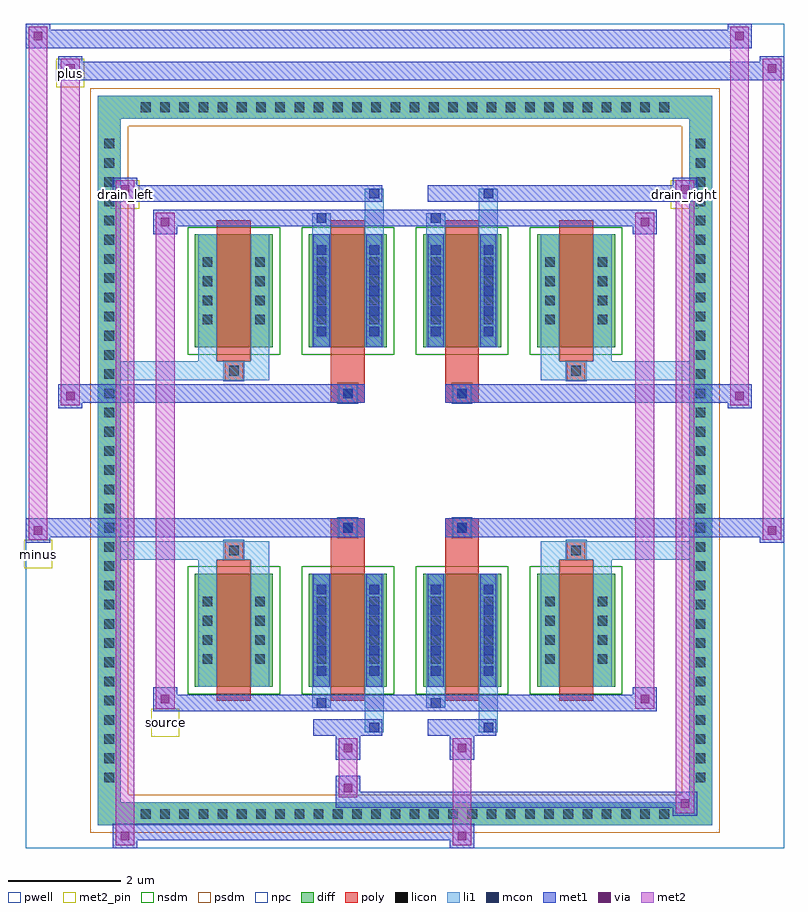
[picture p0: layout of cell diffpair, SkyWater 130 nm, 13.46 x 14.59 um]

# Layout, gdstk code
import gdstk
lib = gdstk.Library(unit=1e-6, precision=5e-09)
def R(c, l, rs):  # rectangles x0, y0, x1, y1
    for r in rs: c.add(gdstk.rectangle(r[:2], r[2:], *l))
def A(c, l, x, y, w, h, nx, ny, dx, dy):  # array of equal rectangles
    R(c, l, [(x+i*dx, y+j*dy, x+i*dx+w, y+j*dy+h) for i in range(nx) for j in range(ny)])
def P(c, l, *ps):  # polygons
    for p in ps: c.add(gdstk.Polygon(p, *l))
pwell = (64, 44)
diff = (65, 20)
poly = (66, 20)
licon = (66, 44)
li1 = (67, 20)
mcon = (67, 44)
met1 = (68, 20)
via = (68, 44)
met2_pin = (69, 16)
met2 = (69, 20)
nsdm = (93, 44)
psdm = (94, 20)
npc = (95, 20)

diffpair = lib.new_cell('diffpair')
R(diffpair, pwell, [(-6.71,-6.86,6.71,7.73), (-4.03,-5.05,-0.01,-0.825), (0.01,-5.05,4.03,-0.825), (-4.03,0.825,-0.01,5.05), (0.01,0.825,4.03,5.05)])
A(diffpair, diff, -4.795, -6.46, 0.41, 0.41, 28, 2, 0.34, 12.51)
A(diffpair, diff, -5.44, -5.815, 0.41, 0.41, 1, 34, 0, 0.34)
A(diffpair, diff, 5.03, -5.815, 0.41, 0.41, 1, 34, 0, 0.34)
A(diffpair, diff, -3.72, -4.005, 1.38, 2, 4, 2, 2.02, 6.01)
R(diffpair, diff, [(-4.795,-6.46,4.795,-6.05), (-5.44,-5.815,-5.03,5.815), (5.03,-5.815,5.44,5.815), (-4.795,6.05,4.795,6.46)])
P(diffpair, diff, [(5.44,6.46),(-5.44,6.46),(-5.44,-6.05),(-5.03,-6.05),(-5.03,6.05),(5.03,6.05),(5.03,-6.05),(-5.03,-6.05),(-5.44,-6.05),(-5.44,-6.46),(5.44,-6.46)])
A(diffpair, poly, -3.33, -4.255, 0.6, 2.5, 4, 2, 2.02, 6.01)
R(diffpair, poly, [(-3.195,-1.755,-2.865,-1.425), (-3.195,-1.755,-2.865,-1.425), (-1.31,-1.755,-0.71,-1.355), (0.71,-1.755,1.31,-1.355), (2.865,-1.755,3.195,-1.425), (2.865,-1.755,3.195,-1.425), (-1.31,-1.355,-0.71,-1.025), (-1.175,-1.355,-0.845,-1.025), (0.71,-1.355,1.31,-1.025), (0.845,-1.355,1.175,-1.025), (-1.31,1.025,-0.71,1.355), (-1.175,1.025,-0.845,1.355), (0.71,1.025,1.31,1.355), (0.845,1.025,1.175,1.355), (-1.31,1.355,-0.71,1.755), (0.71,1.355,1.31,1.755), (-3.195,1.425,-2.865,1.755), (-3.195,1.425,-2.865,1.755), (2.865,1.425,3.195,1.755), (2.865,1.425,3.195,1.755)])
A(diffpair, licon, -4.675, -6.34, 0.17, 0.17, 28, 2, 0.34, 12.51)
A(diffpair, licon, -5.32, -5.695, 0.17, 0.17, 1, 34, 0, 0.34)
A(diffpair, licon, 5.15, -5.695, 0.17, 0.17, 1, 34, 0, 0.34)
A(diffpair, licon, -3.58, -3.6, 0.17, 0.17, 1, 4, 0, 0.34)
A(diffpair, licon, -2.65, -3.6, 0.17, 0.17, 1, 4, 0, 0.34)
A(diffpair, licon, -1.56, -3.6, 0.17, 0.17, 1, 4, 0, 0.34)
A(diffpair, licon, -0.63, -3.6, 0.17, 0.17, 1, 4, 0, 0.34)
A(diffpair, licon, 0.46, -3.6, 0.17, 0.17, 1, 4, 0, 0.34)
A(diffpair, licon, 1.39, -3.6, 0.17, 0.17, 1, 4, 0, 0.34)
A(diffpair, licon, 2.48, -3.6, 0.17, 0.17, 1, 4, 0, 0.34)
A(diffpair, licon, 3.41, -3.6, 0.17, 0.17, 1, 4, 0, 0.34)
A(diffpair, licon, -3.58, 2.41, 0.17, 0.17, 1, 4, 0, 0.34)
A(diffpair, licon, -2.65, 2.41, 0.17, 0.17, 1, 4, 0, 0.34)
A(diffpair, licon, -1.56, 2.41, 0.17, 0.17, 1, 4, 0, 0.34)
A(diffpair, licon, -0.63, 2.41, 0.17, 0.17, 1, 4, 0, 0.34)
A(diffpair, licon, 0.46, 2.41, 0.17, 0.17, 1, 4, 0, 0.34)
A(diffpair, licon, 1.39, 2.41, 0.17, 0.17, 1, 4, 0, 0.34)
A(diffpair, licon, 2.48, 2.41, 0.17, 0.17, 1, 4, 0, 0.34)
A(diffpair, licon, 3.41, 2.41, 0.17, 0.17, 1, 4, 0, 0.34)
R(diffpair, licon, [(-3.115,-1.675,-2.945,-1.505), (2.945,-1.675,3.115,-1.505), (-1.095,-1.275,-0.925,-1.105), (0.925,-1.275,1.095,-1.105), (-1.095,1.105,-0.925,1.275), (0.925,1.105,1.095,1.275), (-3.115,1.505,-2.945,1.675), (2.945,1.505,3.115,1.675)])
A(diffpair, li1, -4.755, -6.42, 0.33, 0.33, 28, 2, 0.34, 12.51)
A(diffpair, li1, -5.4, -5.775, 0.33, 0.33, 1, 34, 0, 0.34)
A(diffpair, li1, 5.07, -5.775, 0.33, 0.33, 1, 34, 0, 0.34)
A(diffpair, li1, -1.56, -3.81, 0.17, 0.17, 1, 5, 0, 0.36)
A(diffpair, li1, -0.63, -3.81, 0.17, 0.17, 1, 5, 0, 0.36)
A(diffpair, li1, 0.46, -3.81, 0.17, 0.17, 1, 5, 0, 0.36)
A(diffpair, li1, 1.39, -3.81, 0.17, 0.17, 1, 5, 0, 0.36)
A(diffpair, li1, -3.66, -3.68, 0.33, 0.33, 1, 4, 0, 0.34)
A(diffpair, li1, -2.73, -3.68, 0.33, 0.33, 1, 4, 0, 0.34)
A(diffpair, li1, -1.64, -3.68, 0.33, 0.33, 1, 4, 0, 0.34)
A(diffpair, li1, -0.71, -3.68, 0.33, 0.33, 1, 4, 0, 0.34)
A(diffpair, li1, 0.38, -3.68, 0.33, 0.33, 1, 4, 0, 0.34)
A(diffpair, li1, 1.31, -3.68, 0.33, 0.33, 1, 4, 0, 0.34)
A(diffpair, li1, 2.4, -3.68, 0.33, 0.33, 1, 4, 0, 0.34)
A(diffpair, li1, 3.33, -3.68, 0.33, 0.33, 1, 4, 0, 0.34)
A(diffpair, li1, -1.56, 2.2, 0.17, 0.17, 1, 5, 0, 0.36)
A(diffpair, li1, -0.63, 2.2, 0.17, 0.17, 1, 5, 0, 0.36)
A(diffpair, li1, 0.46, 2.2, 0.17, 0.17, 1, 5, 0, 0.36)
A(diffpair, li1, 1.39, 2.2, 0.17, 0.17, 1, 5, 0, 0.36)
A(diffpair, li1, -3.66, 2.33, 0.33, 0.33, 1, 4, 0, 0.34)
A(diffpair, li1, -2.73, 2.33, 0.33, 0.33, 1, 4, 0, 0.34)
A(diffpair, li1, -1.64, 2.33, 0.33, 0.33, 1, 4, 0, 0.34)
A(diffpair, li1, -0.71, 2.33, 0.33, 0.33, 1, 4, 0, 0.34)
A(diffpair, li1, 0.38, 2.33, 0.33, 0.33, 1, 4, 0, 0.34)
A(diffpair, li1, 1.31, 2.33, 0.33, 0.33, 1, 4, 0, 0.34)
A(diffpair, li1, 2.4, 2.33, 0.33, 0.33, 1, 4, 0, 0.34)
A(diffpair, li1, 3.33, 2.33, 0.33, 0.33, 1, 4, 0, 0.34)
R(diffpair, li1, [(-5.44,-6.46,-5.03,-6.05), (-5.44,-6.46,-5.03,-6.05), (-5.03,-6.46,5.03,-6.05), (5.03,-6.46,5.44,-6.05), (5.03,-6.46,5.44,-6.05), (-5.44,-6.05,-5.03,6.05), (5.03,-6.05,5.44,6.05), (-0.71,-4.81,-0.38,-4.005), (-0.63,-4.81,-0.46,-4.64), (1.31,-4.81,1.64,-4.005), (1.39,-4.81,1.56,-4.64), (-1.64,-4.38,-1.31,-4.005), (-1.56,-4.38,-1.39,-4.21), (0.38,-4.38,0.71,-4.005), (0.46,-4.38,0.63,-4.21), (-3.66,-4.005,-3.33,-2.005), (-2.73,-4.005,-2.4,-2.005), (-1.64,-4.005,-1.31,-2.005), (-0.71,-4.005,-0.38,-2.005), (0.38,-4.005,0.71,-2.005), (1.31,-4.005,1.64,-2.005), (2.4,-4.005,2.73,-2.005), (3.33,-4.005,3.66,-2.005), (-1.56,-3.81,-1.39,-2.2), (-0.63,-3.81,-0.46,-2.2), (0.46,-3.81,0.63,-2.2), (1.39,-3.81,1.56,-2.2), (-3.66,-2.005,-3.33,-1.425), (-2.73,-2.005,-2.4,-1.425), (2.4,-2.005,2.73,-1.425), (3.33,-2.005,3.66,-1.425), (-5.44,-1.755,-3.195,-1.425), (-3.66,-1.755,-3.195,-1.425), (-3.195,-1.755,-2.865,-1.425), (-2.865,-1.755,-2.4,-1.425), (2.4,-1.755,2.865,-1.425), (2.865,-1.755,3.195,-1.425), (2.865,-1.755,5.44,-1.425), (3.195,-1.755,3.66,-1.425), (-1.175,-1.355,-0.845,-1.025), (0.845,-1.355,1.175,-1.025), (-1.175,1.025,-0.845,1.355), (0.845,1.025,1.175,1.355), (-5.44,1.425,-3.195,1.755), (-3.66,1.425,-3.195,1.755), (-3.66,1.425,-3.33,2.005), (-3.195,1.425,-2.865,1.755), (-2.865,1.425,-2.4,1.755), (-2.73,1.425,-2.4,2.005), (2.4,1.425,2.865,1.755), (2.4,1.425,2.73,2.005), (2.865,1.425,3.195,1.755), (2.865,1.425,5.44,1.755), (3.195,1.425,3.66,1.755), (3.33,1.425,3.66,2.005), (-3.66,2.005,-3.33,4.005), (-2.73,2.005,-2.4,4.005), (-1.64,2.005,-1.31,4.005), (-0.71,2.005,-0.38,4.005), (0.38,2.005,0.71,4.005), (1.31,2.005,1.64,4.005), (2.4,2.005,2.73,4.005), (3.33,2.005,3.66,4.005), (-1.56,2.2,-1.39,3.81), (-0.63,2.2,-0.46,3.81), (0.46,2.2,0.63,3.81), (1.39,2.2,1.56,3.81), (-1.64,4.005,-1.31,4.38), (-0.71,4.005,-0.38,4.81), (0.38,4.005,0.71,4.38), (1.31,4.005,1.64,4.81), (-1.56,4.21,-1.39,4.38), (0.46,4.21,0.63,4.38), (-0.63,4.64,-0.46,4.81), (1.39,4.64,1.56,4.81), (-5.44,6.05,-5.03,6.46), (-5.44,6.05,-5.03,6.46), (-5.03,6.05,5.03,6.46), (5.03,6.05,5.44,6.46), (5.03,6.05,5.44,6.46)])
A(diffpair, mcon, -1.56, -3.81, 0.17, 0.17, 1, 5, 0, 0.36)
A(diffpair, mcon, -0.63, -3.81, 0.17, 0.17, 1, 5, 0, 0.36)
A(diffpair, mcon, 0.46, -3.81, 0.17, 0.17, 1, 5, 0, 0.36)
A(diffpair, mcon, 1.39, -3.81, 0.17, 0.17, 1, 5, 0, 0.36)
A(diffpair, mcon, -1.56, 2.2, 0.17, 0.17, 1, 5, 0, 0.36)
A(diffpair, mcon, -0.63, 2.2, 0.17, 0.17, 1, 5, 0, 0.36)
A(diffpair, mcon, 0.46, 2.2, 0.17, 0.17, 1, 5, 0, 0.36)
A(diffpair, mcon, 1.39, 2.2, 0.17, 0.17, 1, 5, 0, 0.36)
R(diffpair, mcon, [(-0.63,-4.81,-0.46,-4.64), (1.39,-4.81,1.56,-4.64), (-1.56,-4.38,-1.39,-4.21), (0.46,-4.38,0.63,-4.21), (-1.095,-1.275,-0.925,-1.105), (0.925,-1.275,1.095,-1.105), (-1.095,1.105,-0.925,1.275), (0.925,1.105,1.095,1.275), (-1.56,4.21,-1.39,4.38), (0.46,4.21,0.63,4.38), (-0.63,4.64,-0.46,4.81), (1.39,4.64,1.56,4.81)])
A(diffpair, met1, -1.62, -3.87, 0.29, 0.29, 1, 5, 0, 0.36)
A(diffpair, met1, -0.69, -3.87, 0.29, 0.29, 1, 5, 0, 0.36)
A(diffpair, met1, 0.4, -3.87, 0.29, 0.29, 1, 5, 0, 0.36)
A(diffpair, met1, 1.33, -3.87, 0.29, 0.29, 1, 5, 0, 0.36)
A(diffpair, met1, -1.62, 2.14, 0.29, 0.29, 1, 5, 0, 0.36)
A(diffpair, met1, -0.69, 2.14, 0.29, 0.29, 1, 5, 0, 0.36)
A(diffpair, met1, 0.4, 2.14, 0.29, 0.29, 1, 5, 0, 0.36)
A(diffpair, met1, 1.33, 2.14, 0.29, 0.29, 1, 5, 0, 0.36)
R(diffpair, met1, [(-5.17,-6.86,-4.74,-6.43), (0.795,-6.86,1.225,-6.43), (-5.17,-6.72,1.225,-6.43), (4.74,-6.29,5.17,-5.86), (-1.225,-6.15,5.17,-5.86), (-1.225,-6.01,-0.795,-5.58), (-1.225,-5.3,-0.795,-4.87), (0.795,-5.3,1.225,-4.87), (-1.62,-4.87,-0.4,-4.58), (-0.69,-4.87,-0.4,-4.58), (0.4,-4.87,1.62,-4.58), (1.33,-4.87,1.62,-4.58), (-4.46,-4.44,-4.03,-4.01), (-4.46,-4.44,-1.62,-4.15), (-1.62,-4.44,-1.33,-4.15), (-1.62,-4.44,-0.4,-4.15), (-0.4,-4.44,0.4,-4.15), (0.4,-4.44,0.69,-4.15), (0.4,-4.44,1.62,-4.15), (1.62,-4.44,4.46,-4.15), (4.03,-4.44,4.46,-4.01), (-1.62,-4.005,-1.33,-2.005), (-0.69,-4.005,-0.4,-2.005), (0.4,-4.005,0.69,-2.005), (1.33,-4.005,1.62,-2.005), (-6.71,-1.455,-6.28,-1.025), (6.28,-1.455,6.71,-1.025), (-6.71,-1.355,-0.71,-1.025), (-1.31,-1.355,-0.71,-1.025), (0.71,-1.355,1.31,-1.025), (0.71,-1.355,6.71,-1.025), (-1.155,-1.335,-0.865,-1.045), (0.865,-1.335,1.155,-1.045), (-6.14,0.925,-5.71,1.355), (5.71,0.925,6.14,1.355), (-6.14,1.025,-1.31,1.355), (-1.31,1.025,-0.71,1.355), (0.71,1.025,1.31,1.355), (1.31,1.025,6.14,1.355), (-1.155,1.045,-0.865,1.335), (0.865,1.045,1.155,1.335), (-1.62,2.005,-1.33,4.005), (-0.69,2.005,-0.4,4.005), (0.4,2.005,0.69,4.005), (1.33,2.005,1.62,4.005), (-4.46,4.01,-4.03,4.44), (4.03,4.01,4.46,4.44), (-4.46,4.15,-1.62,4.44), (-1.62,4.15,-1.33,4.44), (-1.62,4.15,-0.4,4.44), (-0.4,4.15,0.4,4.44), (0.4,4.15,0.69,4.44), (0.4,4.15,1.62,4.44), (1.62,4.15,4.46,4.44), (-5.17,4.58,-4.74,5.01), (-5.17,4.58,-1.62,4.87), (-1.62,4.58,-0.4,4.87), (-0.69,4.58,-0.4,4.87), (0.4,4.58,1.62,4.87), (1.33,4.58,1.62,4.87), (1.62,4.58,5.17,4.87), (4.74,4.58,5.17,5.01), (-6.14,6.73,-5.71,7.16), (-6.14,6.73,-4.03,7.06), (-4.03,6.73,4.03,7.06), (4.03,6.73,6.71,7.06), (6.28,6.73,6.71,7.16), (-6.71,7.3,-6.28,7.73), (-6.71,7.3,-4.03,7.63), (-4.03,7.3,4.03,7.63), (4.03,7.3,6.14,7.63), (5.71,7.3,6.14,7.73)])
R(diffpair, via, [(-5.03,-6.72,-4.88,-6.57), (0.935,-6.72,1.085,-6.57), (4.88,-6.15,5.03,-6), (-1.085,-5.87,-0.935,-5.72), (-1.085,-5.16,-0.935,-5.01), (0.935,-5.16,1.085,-5.01), (-4.32,-4.3,-4.17,-4.15), (4.17,-4.3,4.32,-4.15), (-6.57,-1.315,-6.42,-1.165), (6.42,-1.315,6.57,-1.165), (-6,1.065,-5.85,1.215), (5.85,1.065,6,1.215), (-4.32,4.15,-4.17,4.3), (4.17,4.15,4.32,4.3), (-5.03,4.72,-4.88,4.87), (4.88,4.72,5.03,4.87), (-6,6.87,-5.85,7.02), (6.42,6.87,6.57,7.02), (-6.57,7.44,-6.42,7.59), (5.85,7.44,6,7.59)])
R(diffpair, met2_pin, [(-4.495,-4.89,-3.995,-4.39), (-6.745,-1.905,-6.245,-1.405), (-5.205,4.46,-4.705,4.96), (4.705,4.46,5.205,4.96), (-6.175,6.61,-5.675,7.11)])
R(diffpair, met2, [(-5.12,-6.81,-4.79,-6.48), (-5.12,-6.81,-4.79,4.96), (0.845,-6.81,1.175,-6.48), (0.845,-6.48,1.175,-5.25), (4.79,-6.24,5.12,-5.91), (4.79,-6.24,5.12,4.96), (-1.175,-5.96,-0.845,-5.63), (-1.175,-5.63,-0.845,-5.25), (-1.175,-5.25,-0.845,-4.92), (0.845,-5.25,1.175,-4.92), (-4.41,-4.39,-4.08,-4.06), (-4.41,-4.39,-4.08,4.39), (4.08,-4.39,4.41,-4.06), (4.08,-4.39,4.41,4.39), (-6.66,-1.405,-6.33,-1.075), (-6.66,-1.405,-6.33,7.68), (6.33,-1.405,6.66,-1.075), (6.33,-1.405,6.66,7.11), (-6.09,0.975,-5.76,1.305), (-6.09,0.975,-5.76,7.11), (5.76,0.975,6.09,1.305), (5.76,0.975,6.09,7.68), (-4.41,4.06,-4.08,4.39), (4.08,4.06,4.41,4.39), (-5.12,4.63,-4.79,4.96), (4.79,4.63,5.12,4.96), (-6.09,6.78,-5.76,7.11), (6.33,6.78,6.66,7.11), (-6.66,7.35,-6.33,7.68), (5.76,7.35,6.09,7.68)])
P(diffpair, met2, [(6.66,-1.405),(6.66,-1.405),(6.66,-1.075),(6.66,-1.075)],
  [(6.66,6.78),(6.66,6.78),(6.66,7.11),(6.66,7.11)],
  [(-6.33,-1.405),(-6.33,-1.405),(-6.33,-1.075),(-6.33,-1.075)],
  [(-6.33,7.35),(-6.33,7.35),(-6.33,7.68),(-6.33,7.68)],
  [(6.09,0.975),(6.09,0.975),(6.09,1.305),(6.09,1.305)],
  [(6.09,7.35),(6.09,7.35),(6.09,7.68),(6.09,7.68)],
  [(-5.76,0.975),(-5.76,0.975),(-5.76,1.305),(-5.76,1.305)],
  [(-5.76,6.78),(-5.76,6.78),(-5.76,7.11),(-5.76,7.11)],
  [(-4.79,-6.81),(-4.79,-6.81),(-4.79,-6.48),(-4.79,-6.48)],
  [(-4.79,4.63),(-4.79,4.63),(-4.79,4.96),(-4.79,4.96)],
  [(5.12,-6.24),(5.12,-6.24),(5.12,-5.91),(5.12,-5.91)],
  [(5.12,4.63),(5.12,4.63),(5.12,4.96),(5.12,4.96)],
  [(-4.08,-4.39),(-4.08,-4.39),(-4.08,-4.06),(-4.08,-4.06)],
  [(-4.08,4.06),(-4.08,4.06),(-4.08,4.39),(-4.08,4.39)],
  [(4.41,-4.39),(4.41,-4.39),(4.41,-4.06),(4.41,-4.06)],
  [(4.41,4.06),(4.41,4.06),(4.41,4.39),(4.41,4.39)])
A(diffpair, nsdm, -3.85, -4.135, 1.64, 2.26, 4, 2, 2.02, 6.01)
P(diffpair, psdm, [(5.57,6.59),(-5.57,6.59),(-5.57,-5.92),(-4.9,-5.92),(-4.9,5.92),(4.9,5.92),(4.9,-5.92),(-4.9,-5.92),(-5.57,-5.92),(-5.57,-6.59),(5.57,-6.59)])
R(diffpair, npc, [(-3.215,-1.775,-2.845,-1.405), (2.845,-1.775,3.215,-1.405), (-1.195,-1.375,-0.825,-1.005), (0.825,-1.375,1.195,-1.005), (-1.195,1.005,-0.825,1.375), (0.825,1.005,1.195,1.375), (-3.215,1.405,-2.845,1.775), (2.845,1.405,3.215,1.775)])
diffpair.add(gdstk.Label('minus', (-6.495,-1.655), layer=69, texttype=5))
diffpair.add(gdstk.Label('drain_right', (4.955,4.71), layer=69, texttype=5))
diffpair.add(gdstk.Label('drain_left', (-4.955,4.71), layer=69, texttype=5))
diffpair.add(gdstk.Label('source', (-4.245,-4.64), layer=69, texttype=5))
diffpair.add(gdstk.Label('plus', (-5.925,6.86), layer=69, texttype=5))

lib.write_gds('diffpair.gds')
